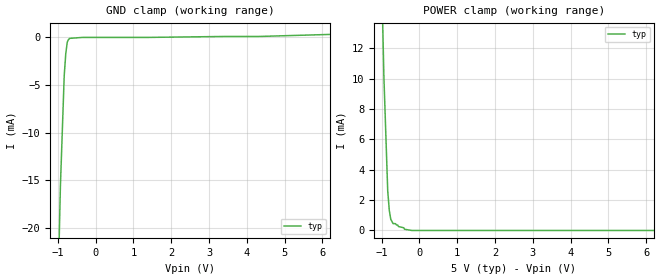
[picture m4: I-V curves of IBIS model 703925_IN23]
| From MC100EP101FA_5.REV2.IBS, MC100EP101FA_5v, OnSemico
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| (C) COPYRIGHT 1993-2001
| MENTOR GRAPHICS CORPORATION
| ICX STANDARD LIBRARY, ICX PROJECT MODELING,
| ICX CUSTOM MODELING, ICX VENDOR MODEL
| ALL RIGHTS RESERVED.
| THE FOLLOWING ARE TRADEMARKS OR SERVICE MARKS OF
| MENTOR GRAPHICS CORPORATION:ICX (R), ICX STANDARD
| LIBRARY(R), ICX PROJECT MODELING(R), ICX CUSTOM
| MODELING(R), qualityIBIS(TM), MODELVIEWER(TM),
| AND MODELEDITOR(TM)
| ALL COPIES OF SOFTWARE, INCLUDING BUT NOT LIMITED TO
| ANY MODIFICATIONS, ENHANCEMENTS OR DERIVATIVE WORKS,
| MUST CONTAIN ALL MENTOR GRAPHICS CORPORATION'S
| NOTICES AND LEGENDS, INCLUDING THOSE EMBEDDED IN
| SOFTWARE AND THOSE AFFIXED TO SOFTWARE MEDIUM
| AND CONTAINER, AS RECEIVED FROM MENTOR GRAPHICS
| CORPORATION.
| Model Application Version 1.89 2/18/99.
[Model] 703925_IN23
Model_type Input_ECL
Vinl = 3.375V
Vinh = 3.775V
C_comp 4.000pF NA NA
| variable typ   min   max
[Voltage Range] 5.000V NA NA
[GND Clamp Reference] 0.000V NA NA
[POWER Clamp Reference] 5.000V NA NA
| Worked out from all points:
|   GND clamp passes 1 mA (typ) near -0.77 V on its own axis
|   POWER clamp passes 1 mA (typ) near -0.77 V on its own axis
[GND Clamp]
-5V       -889.1mA   NA         NA
-1.074V   -40.3mA    NA         NA
-932mV    -15.6mA    NA         NA
-831mV    -4mA       NA         NA
-790mV    -1.7mA     NA         NA
-750mV    -500uA     NA         NA
-730mV    -300uA     NA         NA
-689mV    -100uA     NA         NA
-344.5mV  0A         NA         NA
4.328V    100uA      NA         NA
10V       743.5uA    NA         NA
[POWER Clamp]
-5V       572.5mA    NA         NA
-1.061V   23.7mA     NA         NA
-939mV    10.12mA    NA         NA
-838mV    2.629mA    NA         NA
-797mV    1.333mA    NA         NA
-757mV    737.8uA    NA         NA
-696mV    451.7uA    NA         NA
-635mV    451.7uA    NA         NA
-412mV    177uA      NA         NA
-392mV    79.24uA    NA         NA
-196mV    0A         NA         NA
10V       0A         NA         NA
